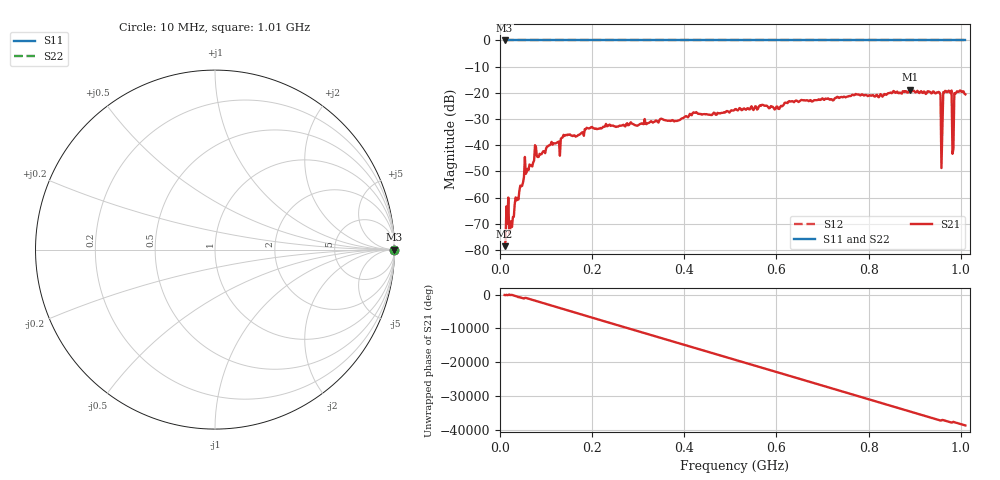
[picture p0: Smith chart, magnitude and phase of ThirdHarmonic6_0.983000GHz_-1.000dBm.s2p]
! 8/16/2025 7:39:37 AM
! C:\ANRITSUVNA\TEMP\TEMP.S2P
! CHANNEL.1
! TR.MEASUREMENT
! RAW.DATA
! RF.CORRECTION.OFF
! AVERAGING.OFF
! IF.BANDWIDTH: 5KHZ
! SWEEPTYPE:  FREQ.SWEEP(Linear)
! Reference Plane Port Info
! PORT:  PORT1  PORT2
! DISTANCE:  0  m  0  m
! TIME:  0  s  0  s
! PHASE.OFFSET:  0  deg.  0  deg.
! LOSS:  0  dB  0  dB
! REF.LOSS:  0  dB  0  dB
! REF.FREQ:  0  Hz  0  Hz
! Power Info
! POWER:  -20  dBm  -20  dBm
! EFF.POWER:  -20  dBm  -20  dBm
! SOURCE.ATTEN:  0  dB  0  dB
! TEST.ATTEN:  0  dB  0  dB
# GHZ S RI R 50.0
! FREQ.GHZ  S11RE  S11IM  S21RE  S21IM  S12RE  S12IM  S22RE  S22IM
!; PortSelection: Port_12
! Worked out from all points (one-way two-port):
!   501 points, 10 MHz to 1.01 GHz, reference 50 ohm
!   highest |S21| = -18.81 dB at 890 MHz (marker M1); lowest = -78.6 dB at 10 MHz (marker M2)
!   lowest |S11| = 0.0 dB at 10 MHz (marker M3)
!   |S11| at or under -10 dB: nowhere
!   |S22| runs from 0.0 to 0.0 dB; largest |S21 - S12| = 1.1
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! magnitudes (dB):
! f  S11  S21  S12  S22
! 10 MHz  0.0  -78.6  0.0  0.0
! 18 MHz  0.0  -60.0  0.0  0.0
! 24 MHz  0.0  -69.0  0.0  0.0
! 56 MHz  0.0  -51.0  0.0  0.0
! 76 MHz  0.0  -40.0  0.0  0.0
! 142 MHz  0.0  -36.2  0.0  0.0
! 178 MHz  0.0  -35.1  0.0  0.0
! 344 MHz  0.0  -31.3  0.0  0.0
! 510 MHz  0.0  -26.3  0.0  0.0
! 678 MHz  0.0  -23.3  0.0  0.0
! 844 MHz  0.0  -20.1  0.0  0.0
! 890 MHz  0.0  -18.8  0.0  0.0
! 952 MHz  0.0  -19.7  0.0  0.0
! 956 MHz  0.0  -20.9  0.0  0.0
! 958 MHz  0.0  -48.7  0.0  0.0
! 962 MHz  0.0  -19.8  0.0  0.0
! 966 MHz  0.0  -19.3  0.0  0.0
! 976 MHz  0.0  -19.6  0.0  0.0
! 980 MHz  0.0  -19.1  0.0  0.0
! 986 MHz  0.0  -20.1  0.0  0.0
! 990 MHz  0.0  -19.9  0.0  0.0
! 1.01 GHz  0.0  -20.6  0.0  0.0
